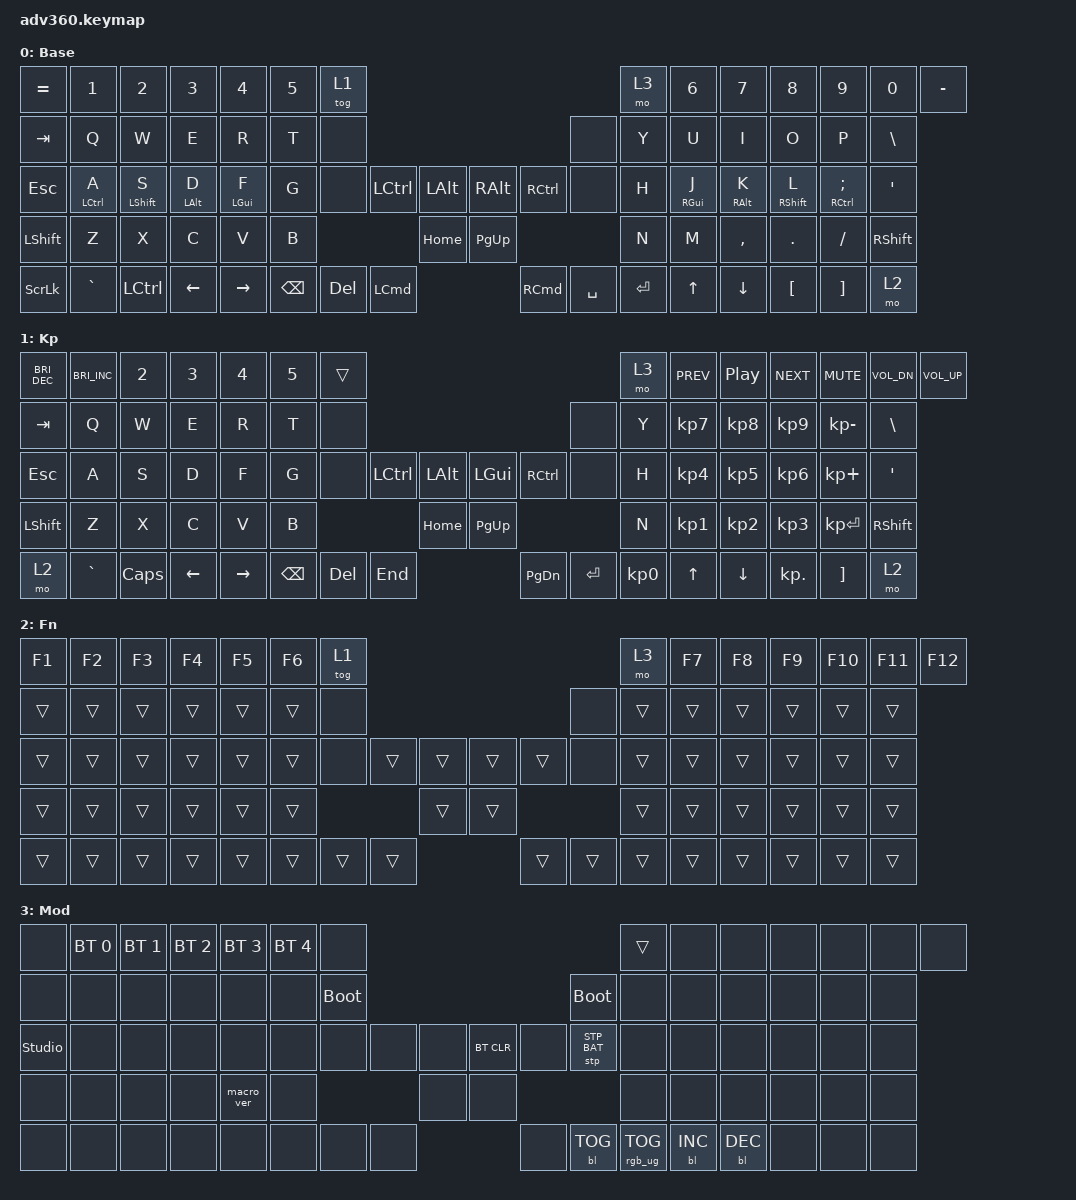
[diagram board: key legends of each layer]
/*
 * Copyright (c) 2020 The ZMK Contributors
 *
 * SPDX-License-Identifier: MIT
 */
/* THIS FILE WAS GENERATED!
 *
 * This file was generated automatically. You may or may not want to
 * edit it directly.
 */

#include <behaviors.dtsi>
#include <dt-bindings/zmk/keys.h>
#include <dt-bindings/zmk/bt.h>
#include <dt-bindings/zmk/rgb.h>
#include <dt-bindings/zmk/stp.h>
#include <dt-bindings/zmk/backlight.h>
#include <dt-bindings/zmk/pointing.h>

/* Key position groups for positional hold-tap (from assets/key-positions.md) */
#define KEYS_L   0  1  2  3  4  5  6 \
                14 15 16 17 18 19 20 \
                28 29 30 31 32 33 34 \
                46 47 48 49 50 51    \
                60 61 62 63 64

#define THUMBS_L 35 36 52 65 66 67

#define KEYS_R   7  8  9 10 11 12 13 \
                21 22 23 24 25 26 27 \
                39 40 41 42 43 44 45 \
                   54 55 56 57 58 59 \
                      71 72 73 74 75

#define THUMBS_R 37 38 53 68 69 70

/ {
    behaviors {
      #include "macros.dtsi"
      #include "version.dtsi"

      /* ── Homerow Mods ─────────────────────────────────────────────────
       *  "Timeless" hold-tap: balanced flavor + require-prior-idle
       *  Left-hand mods only trigger when a right-hand key is pressed,
       *  and vice versa — prevents misfires during fast same-hand rolls.
       * ────────────────────────────────────────────────────────────── */

      hml: homerow_mod_left {
          compatible = "zmk,behavior-hold-tap";
          #binding-cells = <2>;
          flavor = "balanced";
          tapping-term-ms = <280>;
          quick-tap-ms = <175>;
          require-prior-idle-ms = <150>;
          bindings = <&kp>, <&kp>;
          hold-trigger-key-positions = <KEYS_R THUMBS_R>;
          hold-trigger-on-release;
      };

      hmr: homerow_mod_right {
          compatible = "zmk,behavior-hold-tap";
          #binding-cells = <2>;
          flavor = "balanced";
          tapping-term-ms = <280>;
          quick-tap-ms = <175>;
          require-prior-idle-ms = <150>;
          bindings = <&kp>, <&kp>;
          hold-trigger-key-positions = <KEYS_L THUMBS_L>;
          hold-trigger-on-release;
      };
    };

    keymap {
        compatible = "zmk,keymap";

    default_layer {
      display-name = "Base";
      bindings = <
        &kp EQUAL &kp N1    &kp N2     &kp N3   &kp N4     &kp N5 &tog 1                                                              &mo 3 &kp N6 &kp N7       &kp N8    &kp N9      &kp N0       &kp MINUS
        &kp TAB   &kp Q     &kp W      &kp E    &kp R      &kp T  &none                                                               &none &kp Y  &kp U        &kp I     &kp O       &kp P        &kp BSLH
        &kp ESC   &hml LCTRL A &hml LSHFT S &hml LALT D &hml LGUI F &kp G &none      &kp LCTRL &kp LALT &kp RALT  &kp RCTRL           &none &kp H  &hmr RGUI J &hmr RALT K &hmr RSHFT L &hmr RCTRL SEMI &kp SQT
        &kp LSHFT &kp Z     &kp X      &kp C    &kp V      &kp B                               &kp HOME &kp PG_UP                           &kp N  &kp M        &kp COMMA &kp DOT     &kp FSLH     &kp RSHFT
        &kp SLCK  &kp GRAVE &kp LCTRL  &kp LEFT &kp RIGHT               &kp BSPC &kp DEL       &kp LCMD &kp RCMD  &kp SPACE &kp ENTER              &kp UP       &kp DOWN  &kp LBKT    &kp RBKT     &mo 2
      >;
    };
    keypad {
      display-name = "Kp";
      bindings = <
        &kp C_BRI_DEC &kp C_BRI_INC &kp N2   &kp N3   &kp N4     &kp N5 &trans                                                           &mo 3 &kp C_PREV &kp C_PLAY_PAUSE &kp C_NEXT &kp C_MUTE &kp C_VOL_DN &kp C_VOL_UP
        &kp TAB   &kp Q     &kp W    &kp E    &kp R      &kp T  &none                                                            &none &kp Y  &kp KP_N7  &kp KP_N8    &kp KP_N9     &kp KP_MINUS    &kp BSLH
        &kp ESC   &kp A     &kp S    &kp D    &kp F      &kp G  &none           &kp LCTRL &kp LALT &kp LGUI  &kp RCTRL           &none &kp H  &kp KP_N4  &kp KP_N5    &kp KP_N6     &kp KP_PLUS     &kp SQT
        &kp LSHFT &kp Z     &kp X    &kp C    &kp V      &kp B                            &kp HOME &kp PG_UP                           &kp N  &kp KP_N1  &kp KP_N2    &kp KP_N3     &kp KP_ENTER    &kp RSHFT
        &mo 2     &kp GRAVE &kp CAPS &kp LEFT &kp RIGHT                &kp BSPC &kp DEL   &kp END  &kp PG_DN &kp ENTER &kp KP_N0              &kp UP     &kp DOWN     &kp KP_DOT    &kp RBKT        &mo 2
      >;
    };
    fn {
      display-name = "Fn";
      bindings = <
        &kp F1 &kp F2 &kp F3 &kp F4 &kp F5 &kp F6 &tog 1                                           &mo 3 &kp F7 &kp F8 &kp F9 &kp F10 &kp F11 &kp F12
        &trans &trans &trans &trans &trans &trans  &none                                           &none &trans &trans &trans &trans  &trans  &trans
        &trans &trans &trans &trans &trans &trans  &none        &trans &trans &trans &trans        &none &trans &trans &trans &trans  &trans  &trans
        &trans &trans &trans &trans &trans &trans                      &trans &trans                     &trans &trans &trans &trans  &trans  &trans
        &trans &trans &trans &trans &trans               &trans &trans &trans &trans &trans &trans              &trans &trans &trans  &trans  &trans
      >;
    };
    mod {
      display-name = "Mod";
      bindings = <
        &none &bt BT_SEL 0 &bt BT_SEL 1 &bt BT_SEL 2 &bt BT_SEL 3 &bt BT_SEL 4 &none                                                                     &trans                 &none        &none        &none        &none &none &none
        &none &none        &none        &none        &none        &none        &bootloader                                                               &bootloader            &none        &none        &none        &none &none &none
        &studio_unlock &none        &none        &none        &none        &none        &none                   &none &none &bt BT_CLR &none                      &stp STP_BAT &none        &none        &none        &none &none &none
        &none &none        &none        &none        &macro_ver   &none                                      &none &none                                                        &none        &none        &none        &none &none &none
        &none &none        &none        &none        &none                                       &none &none &none &none      &bl BL_TOG &rgb_ug RGB_TOG                                     &bl BL_INC   &bl BL_DEC   &none &none &none
      >;
    };
    extra1 {
      display-name = "Red";
      status = "reserved";
    };

    extra2 {
      display-name = "Purple";
      status = "reserved";
    };

    extra3 {
      display-name = "Cyan";
      status = "reserved";
    };

    extra4 {
      display-name = "Yellow";
      status = "reserved";
    };
  };
};
